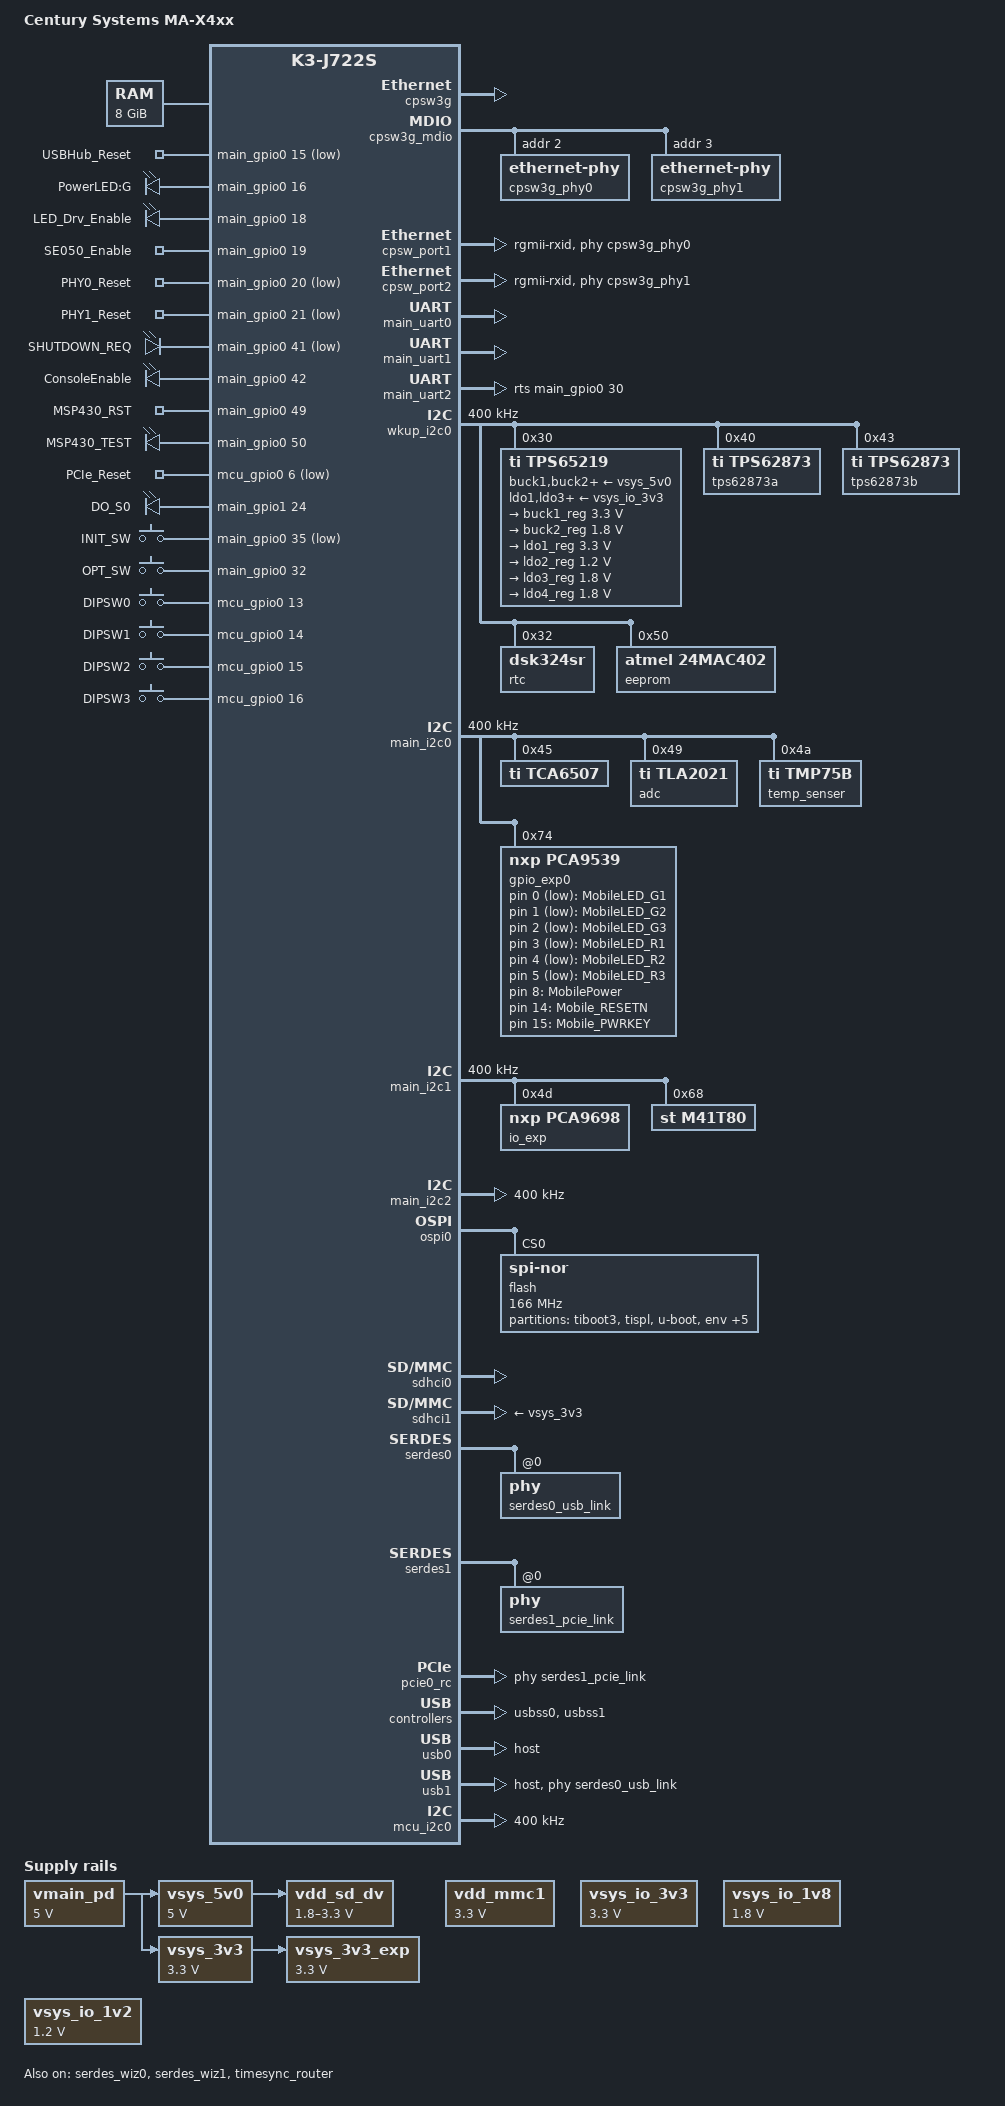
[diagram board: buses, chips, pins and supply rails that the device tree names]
// SPDX-License-Identifier: GPL-2.0-only OR MIT
/*
 * Device Tree file for the Century Systems MA-X4xx
 * Copyright (C) 2024 Texas Instruments Incorporated - https://www.ti.com/
 *
 * Schematics: https://www.ti.com/lit/zip/sprr495
 */

/dts-v1/;

#include <dt-bindings/net/ti-dp83867.h>
#include <dt-bindings/phy/phy.h>
#include <dt-bindings/input/linux-event-codes.h>
#include "k3-j722s.dtsi"
#include "k3-serdes.h"

#include "k3-timesync-router.h"

/ {
	compatible = "centurysys,athena", "ti,j722s";
	model = "Century Systems MA-X4xx";

	chosen {
		stdout-path = "serial2:115200n8";
		//bootargs = "console=ttyS2,115200n8 earlycon=ns16550a,mmio32,0x02800000";
		bootargs = "console=ttyS2,115200n8";
	};

	aliases {
		serial0 = &wkup_uart0;
		serial2 = &main_uart0; /* console */
		serial3 = &main_uart1; /* RS-232C */
		serial4 = &main_uart2; /* RS-485 */
		mmc0 = &sdhci0;
		mmc1 = &sdhci1;
		ethernet0 = &cpsw_port1;
		ethernet1 = &cpsw_port2;
		i2c0 = &main_i2c0;
		i2c1 = &main_i2c1;
		i2c2 = &main_i2c2;
		i2c3 = &wkup_i2c0;
	};

	chosen {
		stdout-path = &main_uart0;
	};

	memory@80000000 {
		/* 8G RAM */
		reg = <0x00000000 0x80000000 0x00000000 0x80000000>,
		      <0x00000008 0x80000000 0x00000001 0x80000000>;
		device_type = "memory";
		bootph-pre-ram;
	};

	reserved_memory: reserved-memory {
		#address-cells = <2>;
		#size-cells = <2>;
		ranges;

		/* global cma region */
		linux,cma {
			compatible = "shared-dma-pool";
			reusable;
			size = <0x00 0x38000000>;
			linux,cma-default;
		};

		secure_tfa_ddr: tfa@9e780000 {
			reg = <0x00 0x9e780000 0x00 0x80000>;
			no-map;
		};

		secure_ddr: optee@9e800000 {
			reg = <0x00 0x9e800000 0x00 0x01800000>;
			no-map;
		};

		wkup_r5fss0_core0_dma_memory_region: memory@a0000000 {
			compatible = "shared-dma-pool";
			reg = <0x00 0xa0000000 0x00 0x100000>;
			no-map;
		};

		wkup_r5fss0_core0_memory_region: memory@a0100000 {
			compatible = "shared-dma-pool";
			reg = <0x00 0xa0100000 0x00 0xf00000>;
			no-map;
		};
	};

	vmain_pd: regulator-0 {
		/* TPS65988 PD CONTROLLER OUTPUT */
		compatible = "regulator-fixed";
		regulator-name = "vmain_pd";
		regulator-min-microvolt = <5000000>;
		regulator-max-microvolt = <5000000>;
		regulator-always-on;
		regulator-boot-on;
		bootph-all;
	};

	vsys_5v0: regulator-vsys5v0 {
		/* Output of LM5140 */
		compatible = "regulator-fixed";
		regulator-name = "vsys_5v0";
		regulator-min-microvolt = <5000000>;
		regulator-max-microvolt = <5000000>;
		vin-supply = <&vmain_pd>;
		regulator-always-on;
		regulator-boot-on;
	};

	vsys_3v3: regulator-vsys3v3 {
		/* output of LM5141-Q1 */
		compatible = "regulator-fixed";
		regulator-name = "vsys_3v3";
		regulator-min-microvolt = <3300000>;
		regulator-max-microvolt = <3300000>;
		vin-supply = <&vmain_pd>;
		regulator-always-on;
		regulator-boot-on;
	};

	vdd_mmc1: regulator-mmc1 {
		/* TPS22918DBVR */
		compatible = "regulator-fixed";
		regulator-name = "vdd_mmc1";
		regulator-min-microvolt = <3300000>;
		regulator-max-microvolt = <3300000>;
		regulator-boot-on;
		enable-active-high;
		bootph-all;
	};

	vsys_3v3_exp: regulator-TPS22990 {
		/* output of TPS22990 */
		compatible = "regulator-fixed";
		regulator-name = "vsys_3v3_exp";
		regulator-min-microvolt = <3300000>;
		regulator-max-microvolt = <3300000>;
		vin-supply = <&vsys_3v3>;
		regulator-always-on;
		regulator-boot-on;
	};

	vdd_sd_dv: regulator-TLV71033 {
		compatible = "regulator-gpio";
		regulator-name = "tlv71033";
		pinctrl-names = "default";
		pinctrl-0 = <&vdd_sd_dv_pins_default>;
		regulator-min-microvolt = <1800000>;
		regulator-max-microvolt = <3300000>;
		regulator-boot-on;
		vin-supply = <&vsys_5v0>;
		gpios = <&main_gpio1 23 GPIO_ACTIVE_HIGH>;
		states = <1800000 0x0>,
			 <3300000 0x1>;
	};

	vsys_io_3v3: regulator-vsys-io-3v3 {
		compatible = "regulator-fixed";
		regulator-name = "vsys_io_3v3";
		regulator-min-microvolt = <3300000>;
		regulator-max-microvolt = <3300000>;
		regulator-always-on;
		regulator-boot-on;
	};

	vsys_io_1v8: regulator-vsys-io-1v8 {
		compatible = "regulator-fixed";
		regulator-name = "vsys_io_1v8";
		regulator-min-microvolt = <1800000>;
		regulator-max-microvolt = <1800000>;
		regulator-always-on;
		regulator-boot-on;
	};

	vsys_io_1v2: regulator-vsys-io-1v2 {
		compatible = "regulator-fixed";
		regulator-name = "vsys_io_1v2";
		regulator-min-microvolt = <1200000>;
		regulator-max-microvolt = <1200000>;
		regulator-always-on;
		regulator-boot-on;
	};

	leds {
		compatible = "gpio-leds";
		pinctrl-names = "default";
		pinctrl-0 = <&system_led_pins_default
			     &mcu_system_led_pins_default>;

		usb_hub_reset {
			label = "USBHub_Reset";
			gpios = <&main_gpio0 15 GPIO_ACTIVE_LOW>;
			default-state = "off";
		};

		led_power_g {
			label = "PowerLED:G";
			gpios = <&main_gpio0 16 GPIO_ACTIVE_HIGH>;
			default-state = "on";
		};

		led_drv_enable {
			label = "LED_Drv_Enable";
			gpios = <&main_gpio0 18 GPIO_ACTIVE_HIGH>;
			default-state = "on";
		};

		se050_enable {
			label = "SE050_Enable";
			gpios = <&main_gpio0 19 GPIO_ACTIVE_HIGH>;
			default-state = "on";
		};

		eth_phy0_reset {
			label = "PHY0_Reset";
			gpios = <&main_gpio0 20 GPIO_ACTIVE_LOW>;
			default-state = "off";
		};

		eth_phy1_reset {
			label = "PHY1_Reset";
			gpios = <&main_gpio0 21 GPIO_ACTIVE_LOW>;
			default-state = "off";
		};

		shutdown_req {
			label = "SHUTDOWN_REQ";
			gpios = <&main_gpio0 41 GPIO_ACTIVE_LOW>;
			linux,default-trigger = "cpu";
		};

		console_enable {
			label = "ConsoleEnable";
			gpios = <&main_gpio0 42 GPIO_ACTIVE_HIGH>;
			default-state = "on";
		};

		msp430_reset {
			label = "MSP430_RST";
			gpios = <&main_gpio0 49 GPIO_ACTIVE_HIGH>;
		};

		msp430_test {
			label = "MSP430_TEST";
			gpios = <&main_gpio0 50 GPIO_ACTIVE_HIGH>;
		};

		pcie_reset {
			label = "PCIe_Reset";
			gpios = <&mcu_gpio0 6 GPIO_ACTIVE_LOW>;
			default-state = "off";
		};

		led_g1 {
			label = "MobileLED_G1";
			gpios = <&gpio_exp0 0 GPIO_ACTIVE_LOW>;
			default-state = "off";
		};

		led_g2 {
			label = "MobileLED_G2";
			gpios = <&gpio_exp0 1 GPIO_ACTIVE_LOW>;
			default-state = "off";
		};

		led_g3 {
			label = "MobileLED_G3";
			gpios = <&gpio_exp0 2 GPIO_ACTIVE_LOW>;
			default-state = "off";
		};

		led_r1 {
			label = "MobileLED_R1";
			gpios = <&gpio_exp0 3 GPIO_ACTIVE_LOW>;
			default-state = "off";
		};

		led_r2 {
			label = "MobileLED_R2";
			gpios = <&gpio_exp0 4 GPIO_ACTIVE_LOW>;
			default-state = "off";
		};

		led_r3 {
			label = "MobileLED_R3";
			gpios = <&gpio_exp0 5 GPIO_ACTIVE_LOW>;
			default-state = "off";
		};

		led_mobile_power {
			label = "MobilePower";
			gpios = <&gpio_exp0 8 GPIO_ACTIVE_HIGH>;
			default-state = "on";
		};

		led_mobile_reset {
			label = "Mobile_RESETN";
			gpios = <&gpio_exp0 14 GPIO_ACTIVE_HIGH>;
			linux,default-trigger = "oneshot";
			led-pattern = <500 100>;
		};

		led_mobile_pwrkey {
			label = "Mobile_PWRKEY";
			gpios = <&gpio_exp0 15 GPIO_ACTIVE_HIGH>;
			default-state = "off";
		};

		led_dout_s0 {
			label = "DO_S0";
			gpios = <&main_gpio1 24 GPIO_ACTIVE_HIGH>;
			default-state = "off";
		};
	};

	leds_msp430: leds-msp430 {
		mobile_power_msp430 {
			label = "Mobile_Power_MSP430";
			gpios = <&io_exp 0 GPIO_ACTIVE_HIGH>;
			retain-state-suspended;
			retain-state-shutdown;
			default-state = "keep";
		};

		led_sim_sel {
			label = "SIM_Sel";
			gpios = <&io_exp 7 GPIO_ACTIVE_HIGH>;
			retain-state-suspended;
			retain-state-shutdown;
			default-state = "keep";
		};
	};

	gpio_keys: gpio-keys {
		compatible = "gpio-keys";
		pinctrl-names = "default";
		pinctrl-0 = <&init_sw_pins_default
			     &opt_sw_pins_default
			     &mcu_dipsw_pins_default>;

		init_sw: init_sw {
			label = "INIT_SW";
			linux,code = <BTN_0>;
			gpios = <&main_gpio0 35 GPIO_ACTIVE_LOW>;
		};

		opt_sw: opt_sw {
			label = "OPT_SW";
			linux,code = <BTN_1>;
			gpios = <&main_gpio0 32 GPIO_ACTIVE_HIGH>;
		};

		dipsw0: dipsw0 {
			label = "DIPSW0";
			linux,code = <BTN_2>;
			gpios = <&mcu_gpio0 13 GPIO_ACTIVE_HIGH>;
		};

		dipsw1: dipsw1 {
			label = "DIPSW1";
			linux,code = <BTN_3>;
			gpios = <&mcu_gpio0 14 GPIO_ACTIVE_HIGH>;
		};

		dipsw2: dipsw2 {
			label = "DIPSW2";
			linux,code = <BTN_4>;
			gpios = <&mcu_gpio0 15 GPIO_ACTIVE_HIGH>;
		};

		dipsw3: dipsw3 {
			label = "DIPSW3";
			linux,code = <BTN_5>;
			gpios = <&mcu_gpio0 16 GPIO_ACTIVE_HIGH>;
		};
	};
};

&cpsw_mac_syscon {
	bootph-all;
};

&phy_gmii_sel {
	bootph-all;
};

&main_pmx0 {
	main_i2c0_pins_default: main-i2c0-default-pins {
		pinctrl-single,pins = <
			J722S_IOPAD(0x01e0, PIN_INPUT_PULLUP, 0)	/* (D23) I2C0_SCL */
			J722S_IOPAD(0x01e4, PIN_INPUT_PULLUP, 0)	/* (B22) I2C0_SDA */
		>;
		bootph-all;
	};

	main_i2c1_pins_default: main-i2c1-default-pins {
		pinctrl-single,pins = <
			J722S_IOPAD(0x01e8, PIN_INPUT_PULLUP, 0)	/* (C24) I2C1_SCL */
			J722S_IOPAD(0x01ec, PIN_INPUT_PULLUP, 0)	/* (A22) I2C1_SDA */
		>;
		bootph-all;
	};

	main_i2c2_pins_default: main-i2c2-default-pins {
		pinctrl-single,pins = <
			J722S_IOPAD(0x00b0, PIN_INPUT_PULLUP, 1)	/* (P22) GPMC0_CSn2.I2C2_SCL */
			J722S_IOPAD(0x00b4, PIN_INPUT_PULLUP, 1)	/* (P23) GPMC0_CSn3.I2C2_SDA */
		>;
	};

	main_uart0_pins_default: main-uart0-default-pins {
		pinctrl-single,pins = <
			J722S_IOPAD(0x01c8, PIN_INPUT, 0)		/* (A22) UART0_RXD */
			J722S_IOPAD(0x01cc, PIN_OUTPUT, 0)		/* (B22) UART0_TXD */
		>;
		bootph-all;
	};

	main_uart1_pins_default: main-uart1-default-pins {
		pinctrl-single,pins = <
			J722S_IOPAD(0x01ac, PIN_INPUT, 2)		/* (C27) MCASP0_AFSR.UART1_RXD */
			J722S_IOPAD(0x01b0, PIN_OUTPUT, 2)		/* (F24) MCASP0_ACLKR.UART1_TXD */
			J722S_IOPAD(0x0194, PIN_INPUT, 2)		/* (A25) MCASP0_AXR3.UART1_CTSn */
			J722S_IOPAD(0x0198, PIN_OUTPUT, 2)		/* (A26) MCASP0_AXR2.UART1_RTSn */
			J722S_IOPAD(0x01a0, PIN_OUTPUT, 7)		/* (F23) MCASP0_AXR0.GPIO1_10 */
			J722S_IOPAD(0x019c, PIN_INPUT, 7)		/* (B25) MCASP0_AXR1.GPIO1_9 */
			J722S_IOPAD(0x01a4, PIN_INPUT, 7)		/* (D25) MCASP0_ACLKX.GPIO1_11 */
			J722S_IOPAD(0x01a8, PIN_INPUT, 7)		/* (C26) MCASP0_AFSX.GPIO1_12 */
		>;
		bootph-all;
	};

	main_uart2_pins_default: main-uart2-default-pins {
		pinctrl-single,pins = <
			J722S_IOPAD(0x005c, PIN_INPUT, 2)		/* (U27) GPMC0_AD8.UART2_RXD */
			J722S_IOPAD(0x0060, PIN_OUTPUT, 2)		/* (U26) GPMC0_AD9.UART2_TXD */
			J722S_IOPAD(0x0078, PIN_OUTPUT, 7)		/* (V23) GPMC0_AD15.GPIO0_30 */
		>;
		bootph-all;
	};

	main_uart3_pins_default: main-uart3-default-pins {
		pinctrl-single,pins = <
			J722S_IOPAD(0x0064, PIN_INPUT, 2)		/* (V27) GPMC0_AD10.UART3_RXD */
			J722S_IOPAD(0x0068, PIN_OUTPUT, 2)		/* (V25) GPMC0_AD11.UART3_TXD */
		>;
		bootph-all;
	};

	main_uart5_pins_default: main-uart5-default-pins {
		pinctrl-single,pins = <
			J722S_IOPAD(0x0108, PIN_INPUT, 3)       /* (J27) UART5_RXD */
			J722S_IOPAD(0x010c, PIN_OUTPUT, 3)      /* (H27) UART5_TXD */
		>;
	};

	vdd_sd_dv_pins_default: vdd-sd-dv-default-pins {
		pinctrl-single,pins = <
			J722S_IOPAD(0x01d4, PIN_OUTPUT, 7) /* (B21) UART0_RTSn.GPIO1_23 */
		>;
		bootph-all;
	};

	main_mmc1_pins_default: main-mmc1-default-pins {
		pinctrl-single,pins = <
			J722S_IOPAD(0x023c, PIN_INPUT, 0)	/* (H22) MMC1_CMD */
			J722S_IOPAD(0x0234, PIN_OUTPUT, 0)	/* (H24) MMC1_CLK */
			J722S_IOPAD(0x0230, PIN_INPUT, 0)	/* (H23) MMC1_DAT0 */
			J722S_IOPAD(0x022c, PIN_INPUT, 0)	/* (H20) MMC1_DAT1 */
			J722S_IOPAD(0x0228, PIN_INPUT, 0)	/* (J23) MMC1_DAT2 */
			J722S_IOPAD(0x0224, PIN_INPUT, 0)	/* (H25) MMC1_DAT3 */
			J722S_IOPAD(0x0240, PIN_INPUT, 0)	/* (B24) MMC1_SDCD */
			J722S_IOPAD(0x0244, PIN_INPUT, 0)	/* (A24) MMC1_SDWP */
		>;
		bootph-all;
	};

	mdio_pins_default: mdio-default-pins {
		pinctrl-single,pins = <
			J722S_IOPAD(0x0160, PIN_OUTPUT, 0)	/* (AC24) MDIO0_MDC */
			J722S_IOPAD(0x015c, PIN_INPUT, 0)	/* (AD25) MDIO0_MDIO */
		>;
		bootph-all;
	};

	ospi0_pins_default: ospi0-default-pins {
		pinctrl-single,pins = <
			J722S_IOPAD(0x0000, PIN_OUTPUT, 0)	/* (L24) OSPI0_CLK */
			J722S_IOPAD(0x002c, PIN_OUTPUT, 0)	/* (K26) OSPI0_CSn0 */
			J722S_IOPAD(0x000c, PIN_INPUT, 0)	/* (K27) OSPI0_D0 */
			J722S_IOPAD(0x0010, PIN_INPUT, 0)	/* (L27) OSPI0_D1 */
			J722S_IOPAD(0x0014, PIN_INPUT, 0)	/* (L26) OSPI0_D2 */
			J722S_IOPAD(0x0018, PIN_INPUT, 0)	/* (L25) OSPI0_D3 */
			J722S_IOPAD(0x0008, PIN_INPUT, 0)	/* (L22) OSPI0_DQS */
			J722S_IOPAD(0x0004, PIN_OUTPUT, 0)	/* (L23) OSPI0_LBCLKO */
		>;
		bootph-all;
	};

	rgmii1_pins_default: rgmii1-default-pins {
		pinctrl-single,pins = <
			J722S_IOPAD(0x014c, PIN_INPUT, 0)	/* (AC25) RGMII1_RD0 */
			J722S_IOPAD(0x0150, PIN_INPUT, 0)	/* (AD27) RGMII1_RD1 */
			J722S_IOPAD(0x0154, PIN_INPUT, 0)	/* (AE24) RGMII1_RD2 */
			J722S_IOPAD(0x0158, PIN_INPUT, 0)	/* (AE26) RGMII1_RD3 */
			J722S_IOPAD(0x0148, PIN_INPUT, 0)	/* (AE27) RGMII1_RXC */
			J722S_IOPAD(0x0144, PIN_INPUT, 0)	/* (AD23) RGMII1_RX_CTL */
			J722S_IOPAD(0x0134, PIN_OUTPUT, 0)	/* (AF27) RGMII1_TD0 */
			J722S_IOPAD(0x0138, PIN_OUTPUT, 0)	/* (AE23) RGMII1_TD1 */
			J722S_IOPAD(0x013c, PIN_OUTPUT, 0)	/* (AG25) RGMII1_TD2 */
			J722S_IOPAD(0x0140, PIN_OUTPUT, 0)	/* (AF24) RGMII1_TD3 */
			J722S_IOPAD(0x0130, PIN_OUTPUT, 0)	/* (AG26) RGMII1_TXC */
			J722S_IOPAD(0x012c, PIN_OUTPUT, 0)	/* (AF25) RGMII1_TX_CTL */
		>;
		bootph-all;
	};

	rgmii2_pins_default: rgmii2-default-pins {
		pinctrl-single,pins = <
			J722S_IOPAD(0x00f8, PIN_INPUT, 2)	/* (AB24) VOUT0_HSYNC.RGMII2_RD0 */
			J722S_IOPAD(0x00fc, PIN_INPUT, 2)	/* (AC27) VOUT0_DE.RGMII2_RD1 */
			J722S_IOPAD(0x0100, PIN_INPUT, 2)	/* (AB23) VOUT0_VSYNC.RGMII2_RD2 */
			J722S_IOPAD(0x0104, PIN_INPUT, 2)	/* (AC26) VOUT0_PCLK.RGMII2_RD3 */
			J722S_IOPAD(0x00f4, PIN_INPUT, 2)	/* (AB27) VOUT0_DATA15.RGMII2_RXC */
			J722S_IOPAD(0x00f0, PIN_INPUT, 2)	/* (AB26) VOUT0_DATA14.RGMII2_RX_CTL */
			J722S_IOPAD(0x00e0, PIN_OUTPUT, 2)	/* (AA25) VOUT0_DATA10.RGMII2_TD0 */
			J722S_IOPAD(0x00e4, PIN_OUTPUT, 2)	/* (AB25) VOUT0_DATA11.RGMII2_TD1 */
			J722S_IOPAD(0x00e8, PIN_OUTPUT, 2)	/* (AA23) VOUT0_DATA12.RGMII2_TD2 */
			J722S_IOPAD(0x00ec, PIN_OUTPUT, 2)	/* (AA22) VOUT0_DATA13.RGMII2_TD3 */
			J722S_IOPAD(0x00dc, PIN_OUTPUT, 2)	/* (AA27) VOUT0_DATA9.RGMII2_TXC */
			J722S_IOPAD(0x00d8, PIN_OUTPUT, 2)	/* (AA24) VOUT0_DATA8.RGMII2_TX_CTL */
		>;
		bootph-all;
	};

	main_usb0_pins_default: main-usb0-default-pins {
		pinctrl-single,pins = <
			J722S_IOPAD(0x0254, PIN_OUTPUT, 0)	/* (E25) USB0_DRVVBUS */
		>;
	};

	main_usb1_pins_default: main-usb1-default-pins {
		pinctrl-single,pins = <
			J722S_IOPAD(0x0258, PIN_INPUT, 0)	/* (B27) USB1_DRVVBUS */
		>;
	};

	pmic_irq_pins_default: pmic-irq-default-pins {
		pinctrl-single,pins = <
			J722S_IOPAD(0x01f4, PIN_INPUT, 0)	/* (B23) EXTINTn */
		>;
	};

	system_led_pins_default: system-led-pins-default {
		pinctrl-single,pins = <
			J722S_IOPAD(0x003c, PIN_OUTPUT, 7)	/* (R22) GPMC0_AD0.GPIO0_15 */
			J722S_IOPAD(0x0040, PIN_OUTPUT, 7)	/* (R23) GPMC0_AD1.GPIO0_16 */
			J722S_IOPAD(0x0048, PIN_OUTPUT, 7)	/* (T27) GPMC0_AD3.GPIO0_18 */
			J722S_IOPAD(0x004c, PIN_OUTPUT, 7)	/* (T25) GPMC0_AD4.GPIO0_19 */
			J722S_IOPAD(0x0050, PIN_OUTPUT, 7)	/* (T24) GPMC0_AD5.GPIO0_20 */
			J722S_IOPAD(0x0054, PIN_OUTPUT, 7)	/* (T21) GPMC0_AD6.GPIO0_21 */
			J722S_IOPAD(0x00a8, PIN_OUTPUT, 7)	/* (R27) GPMC0_CSn0.GPIO0_41 */
			J722S_IOPAD(0x00ac, PIN_OUTPUT, 7)	/* (P21) GPMC0_CSn1.GPIO0_42 */
			J722S_IOPAD(0x01d8, PIN_OUTPUT, 7)	/* (D22) MCAN0_TX.GPIO1_24 */
			J722S_IOPAD(0x00c8, PIN_OUTPUT, 7)	/* (W22) VOUT0_DATA4.GPIO0_49 */
			J722S_IOPAD(0x00cc, PIN_OUTPUT, 7)	/* (W21) VOUT0_DATA5.GPIO0_50 */
		>;
	};

	init_sw_pins_default: init-sw-pins-default {
		pinctrl-single,pins = <
			J722S_IOPAD(0x0090, PIN_INPUT, 7)	/* (P27) GPMC0_BE0n_CLE.GPIO0_35 */
		>;
	};

	opt_sw_pins_default: opt-sw-pins-default {
		pinctrl-single,pins = <
			J722S_IOPAD(0x0084, PIN_INPUT, 7)	/* (N21) GPMC0_ADVn_ALE.GPIO0_32 */
		>;
	};
};

&cpsw3g {
	status = "okay";
	pinctrl-names = "default";
	pinctrl-0 = <&rgmii1_pins_default
		     &rgmii2_pins_default>;

	cpts@3d000 {
		/* MAP HW3_TS_PUSH to GENF1 */
		ti,pps = <2 1>;
	};
};

&cpsw3g_mdio {
	status = "okay";
	pinctrl-names = "default";
	pinctrl-0 = <&mdio_pins_default>;

	cpsw3g_phy0: ethernet-phy@0 {
		reg = <2>;
		bootph-all;
		ti,rx-internal-delay = <DP83867_RGMIIDCTL_2_00_NS>;
		ti,fifo-depth = <DP83867_PHYCR_FIFO_DEPTH_4_B_NIB>;
		ti,min-output-impedance;
	};

	cpsw3g_phy1: ethernet-phy@1 {
		reg = <3>;
		bootph-all;
		ti,rx-internal-delay = <DP83867_RGMIIDCTL_2_00_NS>;
		ti,fifo-depth = <DP83867_PHYCR_FIFO_DEPTH_4_B_NIB>;
		ti,min-output-impedance;
	};
};

&cpsw_port1 {
	phy-mode = "rgmii-rxid";
	phy-handle = <&cpsw3g_phy0>;
	status = "okay";
	bootph-all;
};

&cpsw_port2 {
	phy-mode = "rgmii-rxid";
	phy-handle = <&cpsw3g_phy1>;
	status = "okay";
	bootph-all;
};

&main_gpio0 {
	gpio-line-names = "", "", "", "", "", "", "", "",
			  "", "", "", "", "", "INIT_SW", "", "USBHUB_RESET_N",
			  "POWER_LED_G", "", "LEDDRV_EN", "SE050_ENA", "CPSW_RGMII1_RESET_N", "CPSW_RGMII2_RESET_N", "", "",
			  "", "", "", "", "", "", "RS485_TXEN", "MSP430_IRQ_N",
			  "OPT_SWITCH", "CPSW_RGMII1_INT_N", "XIO_IRQ1_N", "INIT_SWITCH_N", "", "CPSW_RGMII2_INT_N", "XIO_IRQ0_N", "XIO_IRQ2_N",
			  "RTC_IRQ_N", "MSP430_SHDN_N", "EXT_CONSOLE_ENB", "", "", "DIN_S1", "DIN_S0", "DIN_T1",
			  "DIN_T0", "MSP430_RST", "MSP430_TEST", "", "", "", "", "",
			  "", "", "", "", "", "", "", "",
			  "", "", "", "", "", "", "", "MMC0_RST_N",
			  "", "", "", "", "", "", "", "",
			  "", "", "", "", "", "";
	status = "okay";
};

&main_gpio1 {
	gpio-line-names = "", "", "", "", "", "", "", "",
			  "", "RS232_UART1_DSR", "RS232_UART1_DTR", "RS232_UART1_CD", "RS232_UART1_RI", "", "", "",
			  "", "", "", "", "", "", "USB1_OVC_N", "PMIC_VSEL_SD",
			  "DOUT_S0", "DOUT_T0", "", "", "", "", "", "",
			  "", "", "", "", "", "", "", "",
			  "", "", "", "", "", "", "", "",
			  "", "", "", "", "", "", "", "",
			  "", "", "", "", "", "", "", "",
			  "", "", "", "", "", "", "", "",
			  "";
	status = "okay";
};

&main_uart0 {
	pinctrl-names = "default";
	pinctrl-0 = <&main_uart0_pins_default>;
	dsr-gpios = <&main_gpio1 9 GPIO_ACTIVE_LOW>;
	dtr-gpios = <&main_gpio1 10 GPIO_ACTIVE_LOW>;
	dcd-gpios = <&main_gpio1 11 GPIO_ACTIVE_LOW>;
	rng-gpios = <&main_gpio1 12 GPIO_ACTIVE_LOW>;
	status = "okay";
	bootph-all;
};

&main_uart1 {
	pinctrl-names = "default";
	pinctrl-0 = <&main_uart1_pins_default>;
	status = "okay";
	bootph-all;
};

&main_uart2 {
	pinctrl-names = "default";
	pinctrl-0 = <&main_uart2_pins_default>;
	linux,rs485-enabled-at-boot-time;
	rts-gpios = <&main_gpio0 30 GPIO_ACTIVE_HIGH>;
	status = "okay";
	bootph-all;
};

&main_uart5 {
	/* MAIN UART 5 is used by System firmware */
	pinctrl-names = "default";
	pinctrl-0 = <&main_uart5_pins_default>;
	status = "reserved";
};

&mcu_pmx0 {
	mcu_i2c0_pins_default: mcu-i2c0-default-pins {
		pinctrl-single,pins = <
			J722S_MCU_IOPAD(0x048, PIN_INPUT, 0)		/* (E11) MCU_I2C0_SDA */
			J722S_MCU_IOPAD(0x044, PIN_INPUT, 0)		/* (B13) MCU_I2C0_SCL */
		>;
	};

	wkup_uart0_pins_default: wkup-uart0-default-pins {
		pinctrl-single,pins = <
			J722S_MCU_IOPAD(0x02c, PIN_INPUT, 0)		/* (C7) WKUP_UART0_CTSn */
			J722S_MCU_IOPAD(0x030, PIN_OUTPUT, 0)		/* (C6) WKUP_UART0_RTSn */
			J722S_MCU_IOPAD(0x024, PIN_INPUT, 0)		/* (D8) WKUP_UART0_RXD */
			J722S_MCU_IOPAD(0x028, PIN_OUTPUT, 0)		/* (D7) WKUP_UART0_TXD */
		>;
		bootph-all;
	};

	wkup_i2c0_pins_default: wkup-i2c0-default-pins {
		pinctrl-single,pins = <
			J722S_MCU_IOPAD(0x04c, PIN_INPUT_PULLUP, 0)	/* (C7) WKUP_I2C0_SCL */
			J722S_MCU_IOPAD(0x050, PIN_INPUT_PULLUP, 0)	/* (C6) WKUP_I2C1_SDA */
		>;
		bootph-all;
	};

	mcu_dipsw_pins_default: mcu-dipsw-default-pins {
		pinctrl-single,pins = <
			J722S_MCU_IOPAD(0x0034, PIN_INPUT, 7)		/* (B2) MCU_MCAN0_TX.MCU_GPIO0_13 */
			J722S_MCU_IOPAD(0x0038, PIN_INPUT, 7)		/* (D8) MCU_MCAN0_RX.MCU_GPIO0_14 */
			J722S_MCU_IOPAD(0x003c, PIN_INPUT, 7)		/* (C1) MCU_MCAN1_TX.MCU_GPIO0_15 */
			J722S_MCU_IOPAD(0x0040, PIN_INPUT, 7)		/* (B1) MCU_MCAN1_RX.MCU_GPIO0_16 */
		>;
	};

	mcu_system_led_pins_default: mcu_system-led-pins-default {
		pinctrl-single,pins = <
			J722S_MCU_IOPAD(0x0018, PIN_OUTPUT, 7)		/* (B4) MCU_UART0_TXD.MCU_GPIO0_6 */
		>;
	};
};

&wkup_uart0 {
	/* WKUP UART0 is used by Device Manager firmware */
	pinctrl-names = "default";
	pinctrl-0 = <&wkup_uart0_pins_default>;
	status = "reserved";
	bootph-all;
};

&wkup_i2c0 {
	pinctrl-names = "default";
	pinctrl-0 = <&wkup_i2c0_pins_default>;
	clock-frequency = <400000>;
	status = "okay";
	bootph-all;

	tps65219: pmic@30 {
		compatible = "ti,tps65219";
		reg = <0x30>;
		buck1-supply = <&vsys_5v0>;
		buck2-supply = <&vsys_5v0>;
		buck3-supply = <&vsys_5v0>;
		ldo1-supply = <&vsys_io_3v3>;
		ldo3-supply = <&vsys_io_3v3>;
		ldo4-supply = <&vsys_io_3v3>;

		pinctrl-names = "default";
		pinctrl-0 = <&pmic_irq_pins_default>;
		interrupt-parent = <&gic500>;
		interrupts = <GIC_SPI 224 IRQ_TYPE_LEVEL_HIGH>;
		interrupt-controller;
		#interrupt-cells = <1>;

		bootph-all;
		system-power-controller;
		ti,power-button;

		regulators {
			buck1_reg: buck1 {
				regulator-name = "VDD_3V3";
				regulator-min-microvolt = <3300000>;
				regulator-max-microvolt = <3300000>;
				regulator-boot-on;
				regulator-always-on;
			};

			buck2_reg: buck2 {
				regulator-name = "VDD_1V8";
				regulator-min-microvolt = <1800000>;
				regulator-max-microvolt = <1800000>;
				regulator-boot-on;
				regulator-always-on;
			};

			ldo1_reg: ldo1 {
				regulator-name = "VDDSHV5_SDIO";
				regulator-min-microvolt = <3300000>;
				regulator-max-microvolt = <3300000>;
				regulator-allow-bypass;
				regulator-boot-on;
				regulator-always-on;
			};

			ldo2_reg: ldo2 {
				regulator-name = "VDD_1V2";
				regulator-min-microvolt = <1200000>;
				regulator-max-microvolt = <1200000>;
				regulator-boot-on;
				regulator-always-on;
			};

			ldo3_reg: ldo3 {
				regulator-name = "VDDA_PHY_1V8";
				regulator-min-microvolt = <1800000>;
				regulator-max-microvolt = <1800000>;
				regulator-boot-on;
				regulator-always-on;
			};

			ldo4_reg: ldo4 {
				regulator-name = "VDDA_PLL_1V8";
				regulator-min-microvolt = <1800000>;
				regulator-max-microvolt = <1800000>;
				regulator-boot-on;
				regulator-always-on;
			};
		};
	};

	tps62873a: regulator@40 {
		compatible = "ti,tps62873";
		reg = <0x40>;
		bootph-pre-ram;
		regulator-name = "VDD_CPU_AVS";
		regulator-min-microvolt = <600000>;
		regulator-max-microvolt = <900000>;
		regulator-boot-on;
		regulator-always-on;
	};

	tps62873b: regulator@43 {
		compatible = "ti,tps62873";
		reg = <0x43>;
		regulator-name = "VDD_CORE_0V8";
		regulator-min-microvolt = <800000>;
		regulator-max-microvolt = <800000>;
		regulator-boot-on;
		regulator-always-on;
	};

	rtc: rtc@32 {
		compatible = "dsk324sr";
		reg = <0x32>;
	};

	eeprom@50 {
		compatible = "atmel,24mac402";
		reg = <0x50>;
	};
};

&main_i2c0 {
	pinctrl-names = "default";
	pinctrl-0 = <&main_i2c0_pins_default>;
	clock-frequency = <400000>;
	status = "okay";

	tca6507: led@45 {
		compatible = "ti,tca6507";
		#address-cells = <1>;
		#size-cells = <0>;
		reg = <0x45>;

		led0: power-status-red@0 {
			label = "power-stat:r";
			reg = <0x0>;
		};

		led1: system-status1-red@1 {
			label = "system-status1:r";
			reg = <0x1>;
			linux,default-trigger = "heartbeat";
		};

		led2: system-status2-red@2 {
			label = "system-status2:r";
			reg = <0x2>;
		};

		led3: system-status3-red@3 {
			label = "system-status3:r";
			reg = <0x3>;
		};

		led4: system-status1-green@4 {
			label = "system-status1:g";
			reg = <0x4>;
			linux,default-trigger = "timer-suspend";
		};

		led5: system-status2-green@5 {
			label = "system-status2:g";
			reg = <0x5>;
		};

		led6: system-status3-green@6 {
			label = "system-status3:g";
			reg = <0x6>;
		};
	};

	adc@49 {
		compatible = "ti,tla2021";
		reg = <0x49>;
		#address-cells = <1>;
		#size-cells = <0>;

		channel@0 {	/* Voltage over AIN0 and AIN1. */
			reg = <0>;
		};
	};

	temp_senser: tmp75b@4a {
		compatible = "ti,tmp75b";
		reg = <0x4a>;
	};

	gpio_exp0: gpio_exp0@74 {
		compatible = "nxp,pca9539";
		reg = <0x74>;
		gpio-controller;
		#gpio-cells = <2>;

		gpio-line-names = "MobileLED:G0",
				  "MobileLED:G1",
				  "MobileLED:G2",
				  "MobileLED:R0",
				  "MobileLED:R1",
				  "MobileLED:R2",
				  "SIM_CD",
				  "SIM2_CD",
				  "MobilePower",
				  "Mobile_Wakeup_N",
				  "SIM2_Board_Detect",
				  "", "",
				  "Mobile_Status_N",
				  "Mobile_Reset",
				  "Mobile_PWRKEY";
	};
};

&main_i2c1 {
	pinctrl-names = "default";
	pinctrl-0 = <&main_i2c1_pins_default>;
	clock-frequency = <400000>;
	status = "okay";

	io_exp: io_exp@4d {
		compatible = "nxp,pca9698";
		reg = <0x4d>;
		#address-cells = <1>;
		#size-cells = <0>;
		#gpio-cells = <2>;

		gpio-line-names = "Mobile_Power_MSP430", "", "",
				  "", "", "", "", "SIM_Select",
				  "", "", "", "", "", "", "", "", /* Reserved */
				  "", "", "", "", "", "", "", "", /* Reserved */
				  "", "", "", "", "", "", "", "", /* Reserved */
				  "", "", "", "", "", "", "", ""; /* Reserved */
	};

	m41t80: rtc@68 {
		compatible = "st,m41t80";
		reg = <0x68>;
		wakeup-source;
	};
};

&main_i2c2 {
	pinctrl-names = "default";
	pinctrl-0 = <&main_i2c2_pins_default>;
	clock-frequency = <400000>;
	status = "okay";
};

&ospi0 {
	pinctrl-names = "default";
	pinctrl-0 = <&ospi0_pins_default>;
	status = "okay";

	flash@0 {
		compatible = "jedec,spi-nor";
		reg = <0x0>;
		spi-tx-bus-width = <4>;
		spi-rx-bus-width = <4>;
		spi-max-frequency = <166000000>;
		cdns,tshsl-ns = <60>;
		cdns,tsd2d-ns = <60>;
		cdns,tchsh-ns = <60>;
		cdns,tslch-ns = <60>;
		cdns,read-delay = <4>;
		bootph-all;

		partitions {
			compatible = "fixed-partitions";
			#address-cells = <1>;
			#size-cells = <1>;

			partition@0 {
				label = "tiboot3";
				reg = <0x0 0x80000>;
			};

			partition@80000 {
				label = "tispl";
				reg = <0x80000 0x200000>;
			};

			partition@280000 {
				label = "u-boot";
				reg = <0x280000 0x200000>;
			};

			partition@480000 {
				label = "env";
				reg = <0x480000 0x20000>;
			};

			partition@4a0000 {
				label = "env.backup";
				reg = <0x4a0000 0x20000>;
			};

			partition@4c0000 {
				label = "boot.scr";
				reg = <0x4c0000 0x10000>;
			};

			partition@4d0000 {
				label = "reserved";
				reg = <0x4d0000 0x2b0000>;
			};

			partition@780000 {
				label = "hist_firmup";
				reg = <0x780000 0x40000>;
			};

			partition@7c0000 {
				label = "hist_boot";
				reg = <0x7c0000 0x40000>;
			};
		};
	};
};

&sdhci0 {
	disable-wp;
	bootph-all;
	ti,driver-strength-ohm = <50>;
	status = "okay";
};

&sdhci1 {
	/* SD/MMC */
	vmmc-supply = <&vsys_3v3>;
	vqmmc-supply = <&vdd_sd_dv>;
	pinctrl-names = "default";
	pinctrl-0 = <&main_mmc1_pins_default>;
	ti,driver-strength-ohm = <50>;
	disable-wp;
	status = "okay";
	bootph-all;
};

&serdes_ln_ctrl {
	idle-states = <J722S_SERDES0_LANE0_USB>,
		      <J722S_SERDES1_LANE0_PCIE0_LANE0>;
};

&serdes_wiz0 {
	status = "okay";
};

&serdes0 {
	serdes0_usb_link: phy@0 {
		reg = <0>;
		cdns,num-lanes = <1>;
		#phy-cells = <0>;
		cdns,phy-type = <PHY_TYPE_USB3>;
		resets = <&serdes_wiz0 1>;
	};
};

&serdes_refclk {
	clock-frequency = <100000000>;
};

&serdes_wiz1 {
	status = "okay";

	assigned-clocks = <&k3_clks 280 1>;
	assigned-clock-parents = <&k3_clks 280 3>; /* EXT_REFCLK1 */
};

&serdes1 {
	status = "okay";

	assigned-clocks = <&serdes_wiz1 TI_WIZ_PLL0_REFCLK>,
			  <&serdes_wiz1 TI_WIZ_PLL1_REFCLK>,
			  <&serdes_wiz1 TI_WIZ_REFCLK_DIG>;
	assigned-clock-parents = <&serdes_refclk>,
				 <&serdes_refclk>,
				 <&serdes_refclk>;

	serdes1_pcie_link: phy@0 {
		reg = <0>;
		cdns,num-lanes = <1>;
		#phy-cells = <0>;
		cdns,phy-type = <PHY_TYPE_PCIE>;
		resets = <&serdes_wiz1 1>;
	};
};

&pcie0_rc {
	clocks = <&k3_clks 259 0>;
	clock-names = "fck";

	phys = <&serdes1_pcie_link>;
	phy-names = "pcie-phy";
	status = "okay";
};

&usbss0 {
	pinctrl-names = "default";
	pinctrl-0 = <&main_usb0_pins_default>;
	ti,vbus-divider;
	status = "okay";
};

&usb0 {
	dr_mode = "host";
	status = "okay";
};

&usb0_phy_ctrl {
	bootph-all;
};

&usbss1 {
	pinctrl-names = "default";
	pinctrl-0 = <&main_usb1_pins_default>;
	ti,vbus-divider;
	status = "okay";
};

&usb1 {
	dr_mode = "host";
	maximum-speed = "super-speed";
	phys = <&serdes0_usb_link>;
	phy-names = "cdns3,usb3-phy";
};

&mcu_gpio0 {
	gpio-line-names = "", "", "", "", "DIP_SW4", "", "PCIE_RESET_N", "",
			  "PCIE_POWER_EN", "", "", "", "MOBILE_EXP_IRQ_N", "DIP_SW0", "DIP_SW1", "DIP_SW2",
			  "DIP_SW3", "", "", "", "", "", "", "";
	status = "okay";
};

&mcu_i2c0 {
	pinctrl-names = "default";
	pinctrl-0 = <&mcu_i2c0_pins_default>;
	clock-frequency = <400000>;
	status = "okay";
};

&timesync_router {
	/* Use Time Sync Router to map GENF1 input to HW3_TS_PUSH output */
	mux-reg-mask-val = <
		/* pps [cpsw cpts genf1] in17 -> out12 [cpsw cpts hw3_push] */
		K3_TS_OFFSET(12, 0x0001ffff, 17)
		>;
	idle-states = <0x1>;
	status = "okay";
};

&gpu {
	status = "disabled";
};

//#include "k3-j722s-ti-ipc-firmware.dtsi"
